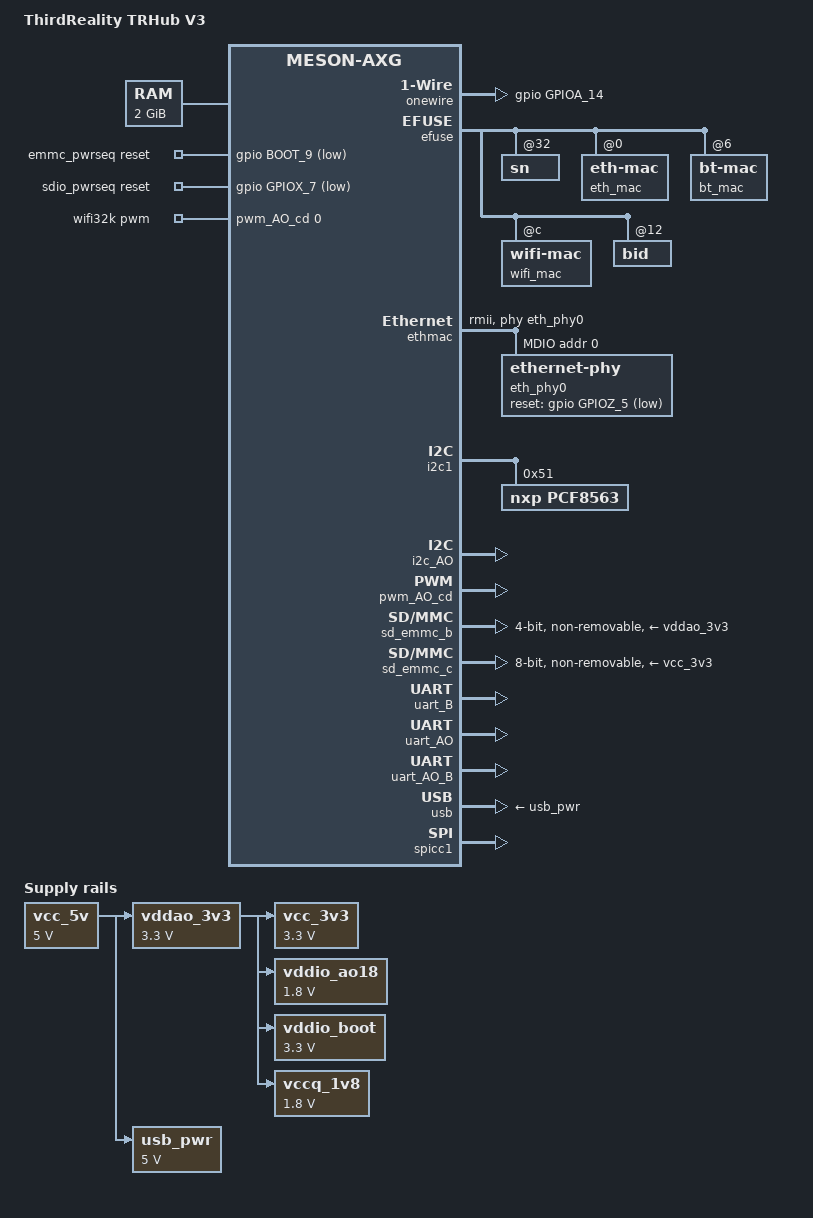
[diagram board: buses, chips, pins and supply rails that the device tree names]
// SPDX-License-Identifier: (GPL-2.0+ OR MIT)
/*
 * Copyright (c) 2024 ThirdReality
 * Copyright (c) 2024 Armbian
 */

/dts-v1/;

#include "meson-axg.dtsi"
#include <dt-bindings/input/input.h>
#include <dt-bindings/thermal/thermal.h>

/ {
	compatible = "thirdreality,trhub-v3", "amlogic,a113d", "amlogic,meson-axg";
	model = "ThirdReality TRHub V3";

	aliases {
		serial0 = &uart_AO;   /* Console */
		serial1 = &uart_AO_B; /* External UART (Wireless Module) */
		serial2 = &uart_B;    /* Bluetooth/Reserved */
		ethernet0 = &ethmac;
	};

	chosen {
		stdout-path = "serial0:115200n8";
	};

	/* 2GB RAM */
	memory@0 {
		device_type = "memory";
		reg = <0x0 0x0 0x0 0x80000000>;
	};

	reserved-memory {
		#address-cells = <2>;
		#size-cells = <2>;
		ranges;

		linux,cma {
			compatible = "shared-dma-pool";
			reusable;
			size = <0x0 0x400000>;
			alignment = <0x0 0x400000>;
			linux,cma-default;
		};
	};

	emmc_pwrseq: emmc-pwrseq {
		compatible = "mmc-pwrseq-emmc";
		reset-gpios = <&gpio BOOT_9 GPIO_ACTIVE_LOW>;
	};

	vcc_5v: regulator-vcc_5v {
		compatible = "regulator-fixed";
		regulator-name = "VCC5V";
		regulator-min-microvolt = <5000000>;
		regulator-max-microvolt = <5000000>;
		regulator-always-on;
	};

	vddao_3v3: regulator-vddao_3v3 {
		compatible = "regulator-fixed";
		regulator-name = "VDDAO_3V3";
		regulator-min-microvolt = <3300000>;
		regulator-max-microvolt = <3300000>;
		vin-supply = <&vcc_5v>;
		regulator-always-on;
	};

	vcc_3v3: regulator-vcc_3v3 {
		compatible = "regulator-fixed";
		regulator-name = "VCC_3V3";
		regulator-min-microvolt = <3300000>;
		regulator-max-microvolt = <3300000>;
		vin-supply = <&vddao_3v3>;
		regulator-always-on;
	};

	vddio_ao18: regulator-vddio_ao18 {
		compatible = "regulator-fixed";
		regulator-name = "VDDIO_AO18";
		regulator-min-microvolt = <1800000>;
		regulator-max-microvolt = <1800000>;
		vin-supply = <&vddao_3v3>;
		regulator-always-on;
	};

	vddio_boot: regulator-vddio_boot {
		compatible = "regulator-fixed";
		regulator-name = "VDDIO_BOOT";
		regulator-min-microvolt = <3300000>;
		regulator-max-microvolt = <3300000>;
		vin-supply = <&vddao_3v3>;
		regulator-always-on;
	};

	vccq_1v8: regulator-vccq_1v8 {
		compatible = "regulator-fixed";
		regulator-name = "VCCQ_1V8";
		regulator-min-microvolt = <1800000>;
		regulator-max-microvolt = <1800000>;
		vin-supply = <&vddao_3v3>;
		regulator-always-on;
	};

	usb_pwr: regulator-usb_pwr {
		compatible = "regulator-fixed";
		regulator-name = "USB_PWR";
		regulator-min-microvolt = <5000000>;
		regulator-max-microvolt = <5000000>;
		vin-supply = <&vcc_5v>;
		regulator-always-on;
	};

	/* W155S1 WiFi power sequencing */
	sdio_pwrseq: sdio-pwrseq {
		compatible = "mmc-pwrseq-simple";
		reset-gpios = <&gpio GPIOX_7 GPIO_ACTIVE_LOW>;
		clocks = <&wifi32k>;
		clock-names = "ext_clock";
	};

	/* 32.768KHz clock for W155S1 WiFi */
	wifi32k: wifi32k {
		compatible = "pwm-clock";
		#clock-cells = <0>;
		clock-frequency = <32768>;
		pwms = <&pwm_AO_cd 0 30518 0>; /* PWM_AO_C at 32.768KHz */
	};

	thermal-zones {
		cpu_thermal: cpu-thermal {
			polling-delay-passive = <250>;
			polling-delay = <1000>;
			thermal-sensors = <&scpi_sensors 0>;

			trips {
				cpu_passive: cpu-passive {
					temperature = <70000>; /* millicelsius */
					hysteresis = <2000>; /* millicelsius */
					type = "passive";
				};

				cpu_hot: cpu-hot {
					temperature = <80000>; /* millicelsius */
					hysteresis = <2000>; /* millicelsius */
					type = "hot";
				};

				cpu_critical: cpu-critical {
					temperature = <100000>; /* millicelsius */
					hysteresis = <2000>; /* millicelsius */
					type = "critical";
				};
			};

			cooling-maps {
				map0 {
					trip = <&cpu_passive>;
					cooling-device = <&cpu0 THERMAL_NO_LIMIT THERMAL_NO_LIMIT>,
							<&cpu1 THERMAL_NO_LIMIT THERMAL_NO_LIMIT>,
							<&cpu2 THERMAL_NO_LIMIT THERMAL_NO_LIMIT>,
							<&cpu3 THERMAL_NO_LIMIT THERMAL_NO_LIMIT>;
				};

				map1 {
					trip = <&cpu_hot>;
					cooling-device = <&cpu0 THERMAL_NO_LIMIT THERMAL_NO_LIMIT>,
							<&cpu1 THERMAL_NO_LIMIT THERMAL_NO_LIMIT>,
							<&cpu2 THERMAL_NO_LIMIT THERMAL_NO_LIMIT>,
							<&cpu3 THERMAL_NO_LIMIT THERMAL_NO_LIMIT>;
				};
			};
		};
	};

	onewire {
		compatible = "w1-gpio";
		gpios = <&gpio GPIOA_14 GPIO_ACTIVE_HIGH>;
	};
};

&efuse {
	status = "okay";

	sn: sn@32 {
		reg = <0x32 0x20>;
	};

	eth_mac: eth-mac@0 {
		reg = <0x0 0x6>;
	};

	bt_mac: bt-mac@6 {
		reg = <0x6 0x6>;
	};

	wifi_mac: wifi-mac@c {
		reg = <0xc 0x6>;
	};

	bid: bid@12 {
		reg = <0x12 0x20>;
	};
};

&ethmac {
	status = "okay";
	pinctrl-0 = <&eth_rmii_x_pins>;
	pinctrl-names = "default";
	phy-handle = <&eth_phy0>;
	phy-mode = "rmii";

	mdio {
		compatible = "snps,dwmac-mdio";
		#address-cells = <1>;
		#size-cells = <0>;

		/* ICPlus IP101A/G Ethernet PHY */
		eth_phy0: ethernet-phy@0 {
			max-speed = <100>;
			reg = <0>;

			reset-assert-us = <10000>;
			reset-deassert-us = <10000>;
			reset-gpios = <&gpio GPIOZ_5 GPIO_ACTIVE_LOW>;
		};
	};
};

/* Internal I2C bus (on CPU module) */
&i2c1 {
	status = "okay";
	pinctrl-0 = <&i2c1_z_pins>;
	pinctrl-names = "default";

	/* RTC */
	pcf8563: rtc@51 {
		compatible = "nxp,pcf8563";
		reg = <0x51>;
		status = "okay";
	};
};

/* Peripheral I2C bus (on motherboard) */
&i2c_AO {
	status = "okay";
	pinctrl-0 = <&i2c_ao_sck_10_pins>, <&i2c_ao_sda_11_pins>;
	pinctrl-names = "default";
};

&pwm_AO_cd {
	status = "okay";
	pinctrl-0 = <&pwm_ao_c_ao8_pins>;
	pinctrl-names = "default";
};

/* W155S1 WiFi module via SDIO */
&sd_emmc_b {
	status = "okay";
	#address-cells = <1>;
	#size-cells = <0>;

	pinctrl-0 = <&sdio_pins>;
	pinctrl-1 = <&sdio_clk_gate_pins>;
	pinctrl-names = "default", "clk-gate";

	bus-width = <4>;
	cap-sd-highspeed;
	max-frequency = <50000000>;
	disable-wp;
	broken-cd;
	non-removable;
	keep-power-in-suspend;

	mmc-pwrseq = <&sdio_pwrseq>;

	vmmc-supply = <&vddao_3v3>;
	vqmmc-supply = <&vddio_boot>;

	/*
	 * W155S1 WiFi module
	 * Handled by Amlogic W1 drivers (aml_sdio.ko, vlsicomm.ko)
	 * Configured via amlogicw1.service
	 */
};

/* eMMC storage */
&sd_emmc_c {
	status = "okay";
	pinctrl-0 = <&emmc_pins>, <&emmc_ds_pins>;
	pinctrl-1 = <&emmc_clk_gate_pins>;
	pinctrl-names = "default", "clk-gate";

	bus-width = <8>;
	cap-mmc-highspeed;
	max-frequency = <200000000>;
	non-removable;
	disable-wp;
	mmc-ddr-1_8v;
	mmc-hs200-1_8v;

	mmc-pwrseq = <&emmc_pwrseq>;

	vmmc-supply = <&vcc_3v3>;
	vqmmc-supply = <&vccq_1v8>;
};

/* UART Bluetooth (W155S1) */
&uart_B {
	status = "okay";
	pinctrl-0 = <&uart_b_z_pins>, <&uart_b_z_cts_rts_pins>;
	pinctrl-names = "default";
	uart-has-rtscts;

	/*
	 * W155S1 Bluetooth module
	 * Handled by Amlogic W1 BT drivers (sdio_bt.ko)
	 * Configured via amlogicw1-bt.service
	 */
};

/* UART Console */
&uart_AO {
	status = "okay";
	pinctrl-0 = <&uart_ao_a_pins>;
	pinctrl-names = "default";
};

/* UART Wireless module */
&uart_AO_B {
	status = "okay";
	pinctrl-0 = <&uart_ao_b_pins>;
	pinctrl-names = "default";
};

&usb {
	status = "okay";
	vbus-supply = <&usb_pwr>;
};

&spicc1 {
	status = "okay";
	pinctrl-0 = <&spi1_x_pins>, <&spi1_ss0_x_pins>;
	pinctrl-names = "default";
};

&cpu0 {
	#cooling-cells = <2>;
};

&cpu1 {
	#cooling-cells = <2>;
};

&cpu2 {
	#cooling-cells = <2>;
};

&cpu3 {
	#cooling-cells = <2>;
};
